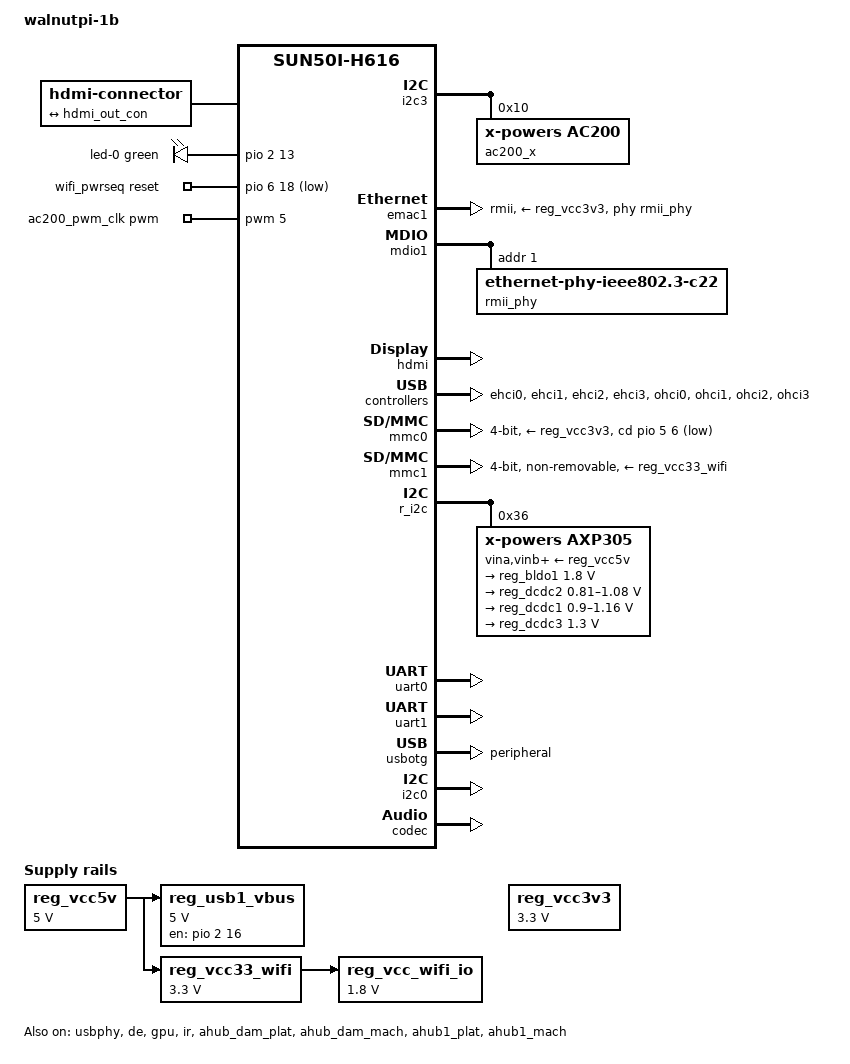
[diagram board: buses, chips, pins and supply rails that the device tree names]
// SPDX-License-Identifier: (GPL-2.0+ or MIT)
/*
 * Copyright (C) 2020 Arm Ltd.
 */

/dts-v1/;

#include "sun50i-h616.dtsi"

#include <dt-bindings/gpio/gpio.h>
#include <dt-bindings/interrupt-controller/arm-gic.h>
#include <dt-bindings/leds/common.h>
#include "sun50i-h616-cpu-opp.dtsi"

/ {
	model = "walnutpi-1b";
	compatible = "allwinner,sun50i-h616";

	aliases {
        ethernet1 = &emac1;
		serial0 = &uart0;
	};

	chosen {
		stdout-path = "serial0:115200n8";
	};

	connector {
		compatible = "hdmi-connector";
		type = "d";

		port {
			hdmi_con_in: endpoint {
				remote-endpoint = <&hdmi_out_con>;
			};
		};
	};

	leds {
		compatible = "gpio-leds";

		led-0 {
			function = LED_FUNCTION_STATUS;
			color = <LED_COLOR_ID_GREEN>;
			gpios = <&pio 2 13 GPIO_ACTIVE_HIGH>; /* PC13 */
			default-state = "on";
		};


	};

	reg_vcc5v: vcc5v {
		/* board wide 5V supply directly from the USB-C socket */
		compatible = "regulator-fixed";
		regulator-name = "vcc-5v";
		regulator-min-microvolt = <5000000>;
		regulator-max-microvolt = <5000000>;
		regulator-always-on;
	};

	reg_vcc3v3: vcc3v3 {
		compatible = "regulator-fixed";
		regulator-name = "vcc-3v3";
		regulator-min-microvolt = <3300000>;
		regulator-max-microvolt = <3300000>;
		regulator-always-on;
	};

	reg_usb1_vbus: usb1-vbus {
		compatible = "regulator-fixed";
		regulator-name = "usb1-vbus";
		regulator-min-microvolt = <5000000>;
		regulator-max-microvolt = <5000000>;
		vin-supply = <&reg_vcc5v>;
		enable-active-high;
		gpio = <&pio 2 16 GPIO_ACTIVE_HIGH>; /* PC16 */
		status = "okay";
	};

	reg_vcc33_wifi: vcc33-wifi {
		/* Always on 3.3V regulator for WiFi and BT */
		compatible = "regulator-fixed";
		regulator-name = "vcc33-wifi";
		regulator-min-microvolt = <3300000>;
		regulator-max-microvolt = <3300000>;
		regulator-always-on;
		vin-supply = <&reg_vcc5v>;
	};

	reg_vcc_wifi_io: vcc-wifi-io {
		/* Always on 1.8V/300mA regulator for WiFi and BT IO */
		compatible = "regulator-fixed";
		regulator-name = "vcc-wifi-io";
		regulator-min-microvolt = <1800000>;
		regulator-max-microvolt = <1800000>;
		regulator-always-on;
		vin-supply = <&reg_vcc33_wifi>;
	};

	wifi_pwrseq: wifi-pwrseq {
		compatible = "mmc-pwrseq-simple";
		clocks = <&rtc 1>;
		clock-names = "osc32k-out";
		reset-gpios = <&pio 6 18 GPIO_ACTIVE_LOW>;  /* PG18 */
		post-power-on-delay-ms = <200>;
	};

    ac200_pwm_clk: ac200_clk {
        compatible = "pwm-clock";
        #clock-cells = <0>;
        // pwm5 period_ns = 500 > 334 for select 24M clock.
        pwms = <&pwm 5 500 1>;
        clock-frequency = <2000000>;
        status = "okay";
	};
	thermal-zones {
		cpu-thermal {
			trips {
				cpu-crit {
					temperature = <300000>;
				};
			};
		};
		gpu-thermal {
			trips {
				gpu-crit {
					type = "passive";
				};
			};
		};
	};
};

&pwm1{
	pinctrl-0 = <&pwm1_pi_pin>;
};
&pwm2{
	pinctrl-0 = <&pwm2_pi_pin>;
};
&pwm3{
	pinctrl-0 = <&pwm3_pi_pin>;
};
&pwm4{
	pinctrl-0 = <&pwm4_pi_pin>;
};

&pwm5 {
    // clk_bypass_output = 1 for Clock direct output without frequency division
    // so pwm5 output is 24MHz for AC200 & AC300 clock
    clk_bypass_output = <0x1>;
};

&i2c3 {
    status = "okay";
    pinctrl-0 = <&i2c3_pa_pins>;

    ac200_x: mfd@10 {
        compatible = "x-powers,ac200";
        reg = <0x10>;
        clocks = <&ac200_pwm_clk>;
        // ephy id
        nvmem-cells = <&ephy_calibration>;
        nvmem-cell-names = "calibration";

        ac200_ephy: phy {
            compatible = "x-powers,ac200-ephy";
            status = "okay";
        };

        ac200_codec: codec {
            #sound-dai-cells = <0>;
            compatible = "x-powers,ac200-codec";
            status = "disabled";
        };
    };
};

&emac1 {
	pinctrl-names = "default";
	pinctrl-0 = <&rmii_pins>;
	phy-mode = "rmii";
	phy-handle = <&rmii_phy>;
	phy-supply = <&reg_vcc3v3>;
	allwinner,rx-delay-ps = <3100>;
	allwinner,tx-delay-ps = <700>;
	status = "okay";
};

&mdio1 {
	rmii_phy: ethernet-phy@1 {
		compatible = "ethernet-phy-ieee802.3-c22";
		reg = <1>;
	};
};

// &emac0 {
// 	pinctrl-names = "default";
// 	pinctrl-0 = <&ext_rgmii_pins>;
// 	phy-mode = "rgmii";
// 	phy-handle = <&ext_rgmii_phy>;
// 	phy-supply = <&reg_vcc3v3>;
// 	allwinner,rx-delay-ps = <3100>;
// 	allwinner,tx-delay-ps = <700>;
//     status = "disabled";
// };

// &mdio0 {
// 	ext_rgmii_phy: ethernet-phy@1 {
// 		compatible = "ethernet-phy-ieee802.3-c22";
// 		reg = <1>;
// 	};
// };

&usbphy {
	usb1_vbus-supply = <&reg_usb1_vbus>;
	status = "okay";
};

&de {
	status = "okay";
};

&hdmi {
	/* Alpindroid: AXP313A 没有 bldo1（那是 AXP806 的），原厂靠 DT overlay
	 * 用硬编码 phandle 0x22 兜底；但重编 DTB 后 phandle 漂移会指错 regulator
	 * （实测指到了 vcc33-wifi，导致 HDMI 抢占 WiFi 的 3.3V 供电）。
	 * 这里直接用 label 指向 vcc-wifi-io，overlay 里对应 fragment 已删除。
	 */
	hvcc-supply = <&reg_vcc_wifi_io>;
	status = "okay";
};

// &hdmi_audio {
// 	status = "okay";
// };

&hdmi_out {
	hdmi_out_con: endpoint {
		remote-endpoint = <&hdmi_con_in>;
	};
};

/* USB 2 & 3 are on headers only. */
&gpu {
	/* Alpindroid: dcdc1 = vdd-gpu-sys（GPU 与 SYS 共用）；
	 * 厂商原来误接到 dcdc3 (vdd-dram, 固定 1.3V)。
	 */
	mali-supply = <&reg_dcdc1>;
	operating-points-v2 = <&gpu_opp_fixed>;
	power-domains = <&prcm_ppu 2>;
	status = "okay";
};

&ehci0 {
	status = "okay";
};

&ehci1 {
	status = "okay";
};

&ehci2 {
	status = "okay";
};

&ehci3 {
	status = "okay";
};

&ohci0 {
	status = "okay";
};

&ohci1 {
	status = "okay";
};

&ohci2 {
	status = "okay";
};

&ohci3 {
	status = "okay";
};


&mmc0 {
	vmmc-supply = <&reg_vcc3v3>;
	cd-gpios = <&pio 5 6 GPIO_ACTIVE_LOW>;	/* PF6 */
	bus-width = <4>;
	status = "okay";
};

&mmc1 {
	vmmc-supply = <&reg_vcc33_wifi>;
	vqmmc-supply = <&reg_vcc_wifi_io>;
	mmc-pwrseq = <&wifi_pwrseq>;
	bus-width = <4>;
	non-removable;
	mmc-ddr-1_8v;
	status = "okay";
};

&mmc2 {
    vmmc-supply = <&reg_vcc3v3>;

    no-1-8-v;
	bus-width = <8>;
    non-removable;
    status = "disabled";
};



&r_i2c {
	status = "okay";

	axp305: pmic@36 {
		compatible = "x-powers,axp305", "x-powers,axp805",
			     "x-powers,axp806";
		interrupt-controller;
		#interrupt-cells = <1>;
		reg = <0x36>;

		x-powers,self-working-mode;
		vina-supply = <&reg_vcc5v>;
		vinb-supply = <&reg_vcc5v>;
		vinc-supply = <&reg_vcc5v>;
		vind-supply = <&reg_vcc5v>;
		vine-supply = <&reg_vcc5v>;
		aldoin-supply = <&reg_vcc5v>;
		bldoin-supply = <&reg_vcc5v>;
		cldoin-supply = <&reg_vcc5v>;

		regulators {

			reg_bldo1: bldo1 {
				regulator-always-on;
				regulator-min-microvolt = <1800000>;
				regulator-max-microvolt = <1800000>;
				regulator-name = "vcc1v8";
			};

			reg_dcdc2: dcdc2 {
				regulator-always-on;
				regulator-min-microvolt = <810000>;
				regulator-max-microvolt = <1080000>;
				regulator-name = "vdd-cpu";
			};
			
			reg_dcdc1: dcdc1 {
				regulator-always-on;
				regulator-min-microvolt = <900000>;
				regulator-max-microvolt = <1160000>;
				regulator-name = "vdd-gpu-sys";
			};

			reg_dcdc3: dcdc3 {
				regulator-always-on;
				regulator-min-microvolt = <1300000>;
				regulator-max-microvolt = <1300000>;
				regulator-name = "vdd-dram";
			};

	
			sw {
				/* unused */
			};
		};
	};
};

&cpu0 {
        cpu-supply = <&reg_dcdc2>;
};



&uart0 {
	pinctrl-names = "default";
	pinctrl-0 = <&uart0_ph_pins>;
	status = "okay";
};
&uart1 {
	//未引出，启用只是为了让/dev下的编号顺序正常
	pinctrl-names = "default";
	pinctrl-0 = <&uart1_ph_pins>;
	status = "okay";
};

&uart2 {
	pinctrl-names = "default";
	pinctrl-0 = <&uart2_pi_pins>;
	status = "disabled";
};

&uart3 {
	pinctrl-names = "default";
	pinctrl-0 = <&uart3_pi_pins>;
	status = "disabled";
};

&uart4 {
	pinctrl-names = "default";
	pinctrl-0 = <&uart4_pi_pins>;
	status = "disabled";
};

&uart5 {
	pinctrl-names = "default";
	pinctrl-0 = <&uart5_ph_pins>;
	status = "disabled";
};

&usbotg {
	/*
	 * PHY0 pins are connected to a USB-C socket, but a role switch
	 * is not implemented: both CC pins are pulled to GND.
	 * The VBUS pins power the device, so a fixed peripheral mode
	 * is the best choice.
	 * The board can be powered via GPIOs, in this case port0 *can*
	 * act as a host (with a cable/adapter ignoring CC), as VBUS is
	 * then provided by the GPIOs. Any user of this setup would
	 * need to adjust the DT accordingly: dr_mode set to "host",
	 * enabling OHCI0 and EHCI0.
	 */
	dr_mode = "peripheral";
	status = "okay";
};

&i2c0 {
	//未引出，启用只是为了让/dev下的编号顺序正常
	status = "okay";
};

// &i2c1 {
// 	status = "okay";
// };

// &i2c2 {
// 	status = "okay";
// };


// &i2c4 {
// 	status = "okay";
// };


&ir {
	pinctrl-names = "default";
	pinctrl-0 = <&ir_rx_pin>;
	status = "okay";
};

&spi0  {
	status = "disabled";

	// flash@0 {
	// 	#address-cells = <1>;
	// 	#size-cells = <1>;
	// 	compatible = "jedec,spi-nor";
	// 	reg = <0>;
	// 	spi-max-frequency = <40000000>;
	// };

};
&spi1 {
    #address-cells = <1>;
    #size-cells = <0>;
	pinctrl-names = "default";
	pinctrl-0 = <&spi1_pins>, <&spi1_cs0_pin>, <&spi1_cs1_pin>;
    // status = "okay";

};

&codec {
        allwinner,audio-routing =
                "Line Out", "LINEOUT";
        status = "okay";
};



&ahub_dam_plat {
	status = "okay";
};

&ahub_dam_mach {
	status = "okay";
};

&ahub1_plat {
	status = "okay";
};

&ahub1_mach {
	status = "okay";
};

/* Alpindroid: 单档 GPU OPP —— 固定 432MHz @ 0.9V。
 * dcdc1 (vdd-gpu-sys) 与 SYS 共用，压低会拖垮系统，所以不做 DVFS。
 */
&{/} {
	gpu_opp_fixed: gpu-opp-fixed {
		compatible = "operating-points-v2";

		opp-432000000 {
			opp-hz = /bits/ 64 <432000000>;
			opp-microvolt = <900000>;
		};
	};
};
